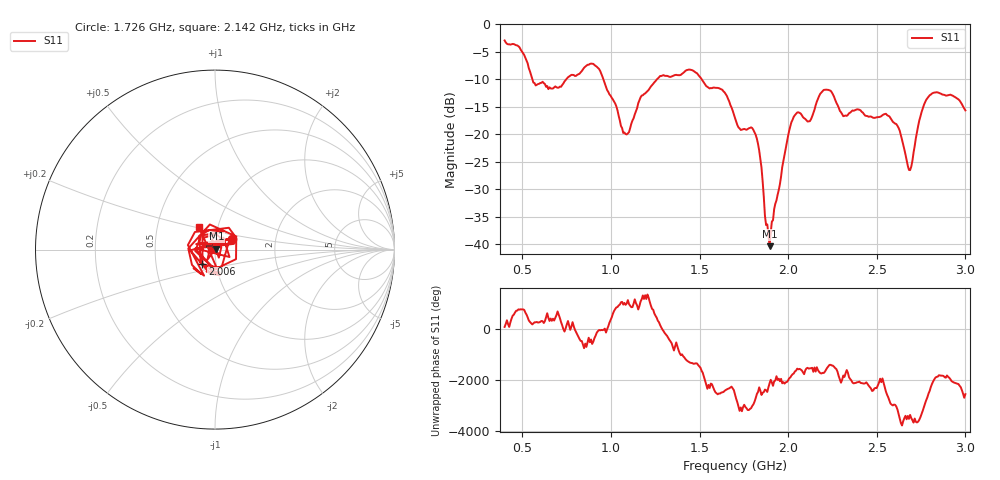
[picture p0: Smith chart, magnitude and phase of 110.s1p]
!Created with skrf (http://scikit-rf.org).
# Hz S RI R 50.0
!freq ReS11 ImS11
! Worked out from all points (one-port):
!   401 points, 400 MHz to 3 GHz, reference 50 ohm
!   lowest |S11| = -40.4 dB at 1.895 GHz (marker M1), VSWR 1.02, Z = 50.8 + j0.494 ohm
!   |S11| at or under -10 dB: 556 MHz to 749.5 MHz (193.5 MHz wide, 29.7 % of centre); 956.9 MHz to 1.26 GHz (303.5 MHz wide, 27.4 % of centre); 1.511 GHz to end of sweep
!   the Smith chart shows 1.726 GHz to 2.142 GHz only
!   S11 on the Smith chart (normalised r, x): 1.726 GHz: 1.21, +0.14; 2.006 GHz: 0.86, -0.14; 2.142 GHz: 0.81, +0.21
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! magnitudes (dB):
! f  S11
! 400 MHz  -3.0
! 491 MHz  -4.6
! 575.5 MHz  -11.1
! 725 MHz  -11.1
! 907 MHz  -7.4
! 1.05 GHz  -17.5
! 1.095 GHz  -19.9
! 1.18 GHz  -12.9
! 1.375 GHz  -9.3
! 1.629 GHz  -11.9
! 1.7 GHz  -17.1
! 1.726 GHz  -19.0
! 1.817 GHz  -20.1
! 1.843 GHz  -24.6
! 1.882 GHz  -36.4
! 1.895 GHz  -40.4
! 2.006 GHz  -19.4
! 2.025 GHz  -17.4
! 2.142 GHz  -16.2
! 2.213 GHz  -11.9
! 2.35 GHz  -16.1
! 2.564 GHz  -16.7
! 2.623 GHz  -18.9
! 2.675 GHz  -25.8
! 2.695 GHz  -25.9
! 2.747 GHz  -16.8
! 2.799 GHz  -12.9
! 3 GHz  -15.7
